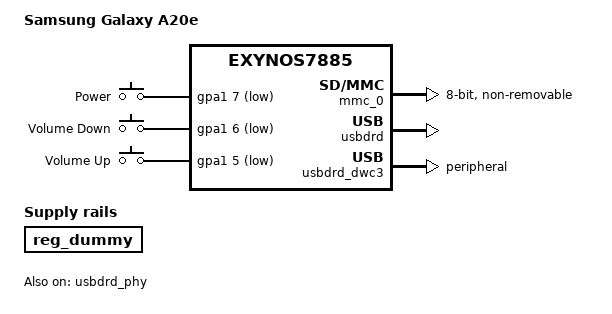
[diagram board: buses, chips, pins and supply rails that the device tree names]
// SPDX-License-Identifier: GPL-2.0
/*
 * Samsung Galaxy A20e (a20e/SM-A202F) device tree source
 *
 * Copyright (c) 2026, Henri Ommer <henri@ommer.net>
 */

/dts-v1/;
#include "exynos7885.dtsi"
#include <dt-bindings/gpio/gpio.h>
#include <dt-bindings/input/input.h>

/ {
	model = "Samsung Galaxy A20e";
	compatible = "samsung,a20e", "samsung,exynos7885";
	chassis-type = "handset";

	chosen {
		ranges;
		#address-cells = <2>;
		#size-cells = <1>;

		framebuffer0: framebuffer@ec000000 {
			compatible = "simple-framebuffer";
			reg = <0x0 0xec000000 (720 * 1560 * 4)>;
			width = <720>;
			height = <1560>;
			stride = <(720 * 4)>;
			format = "a8r8g8b8";
		};
	};

	gpio-keys {
		compatible = "gpio-keys";
		pinctrl-0 = <&key_volup &key_voldown &key_power>;
		pinctrl-names = "default";

		power-key {
			gpios = <&gpa1 7 GPIO_ACTIVE_LOW>;
			label = "Power";
			wakeup-source;
			linux,code = <KEY_POWER>;
		};

		voldown-key {
			gpios = <&gpa1 6 GPIO_ACTIVE_LOW>;
			label = "Volume Down";
			linux,code = <KEY_VOLUMEDOWN>;
		};

		volup-key {
			gpios = <&gpa1 5 GPIO_ACTIVE_LOW>;
			label = "Volume Up";
			linux,code = <KEY_VOLUMEUP>;
		};
	};

	memory@80000000 {
		device_type = "memory";
		reg = <0x0 0x80000000 0x3bc00000>,
		      <0x0 0xc0000000 0x40000000>,
		      <0x8 0x80000000 0x40000000>;
	};

	/* TODO: Remove this once PMIC is implemented */
	reg_dummy: regulator-0 {
		compatible = "regulator-fixed";
		regulator-name = "dummy_reg";
	};

	reserved-memory {
		ranges;
		#address-cells = <2>;
		#size-cells = <1>;

		cont_splash_mem: framebuffer@ec000000 {
			reg = <0x0 0xec000000 (720 * 1560 * 4)>;
			no-map;
		};
	};
};

&mmc_0 {
	bus-width = <8>;
	cap-mmc-highspeed;
	card-detect-delay = <200>;
	clock-frequency = <800000000>;
	mmc-hs200-1_8v;
	mmc-hs400-1_8v;
	mmc-hs400-enhanced-strobe;
	non-removable;
	pinctrl-0 = <&sd0_clk_fast_slew_rate_3x &sd0_cmd &sd0_rdqs
		     &sd0_bus1 &sd0_bus4 &sd0_bus8>;
	pinctrl-names = "default";

	samsung,dw-mshc-ciu-div = <3>;
	samsung,dw-mshc-ddr-timing = <2 4>;
	samsung,dw-mshc-hs400-timing = <0 2>;
	samsung,dw-mshc-sdr-timing = <0 4>;

	status = "okay";
};

&oscclk {
	clock-frequency = <26000000>;
};

&pinctrl_alive {
	key_power: key-power-pins {
		samsung,pins = "gpa1-7";
		samsung,pin-function = <EXYNOS_PIN_FUNC_F>;
		samsung,pin-pud = <EXYNOS_PIN_PULL_NONE>;
		samsung,pin-drv = <EXYNOS5420_PIN_DRV_LV1>;
	};

	key_voldown: key-voldown-pins {
		samsung,pins = "gpa1-6";
		samsung,pin-function = <EXYNOS_PIN_FUNC_F>;
		samsung,pin-pud = <EXYNOS_PIN_PULL_NONE>;
		samsung,pin-drv = <EXYNOS5420_PIN_DRV_LV1>;
	};

	key_volup: key-volup-pins {
		samsung,pins = "gpa1-5";
		samsung,pin-function = <EXYNOS_PIN_FUNC_F>;
		samsung,pin-pud = <EXYNOS_PIN_PULL_NONE>;
		samsung,pin-drv = <EXYNOS5420_PIN_DRV_LV1>;
	};
};

&usbdrd {
	vdd10-supply = <&reg_dummy>;
	vdd33-supply = <&reg_dummy>;

	status = "okay";
};

&usbdrd_dwc3 {
	dr_mode = "peripheral";
	maximum-speed = "high-speed";
};

&usbdrd_phy {
	status = "okay";
};
